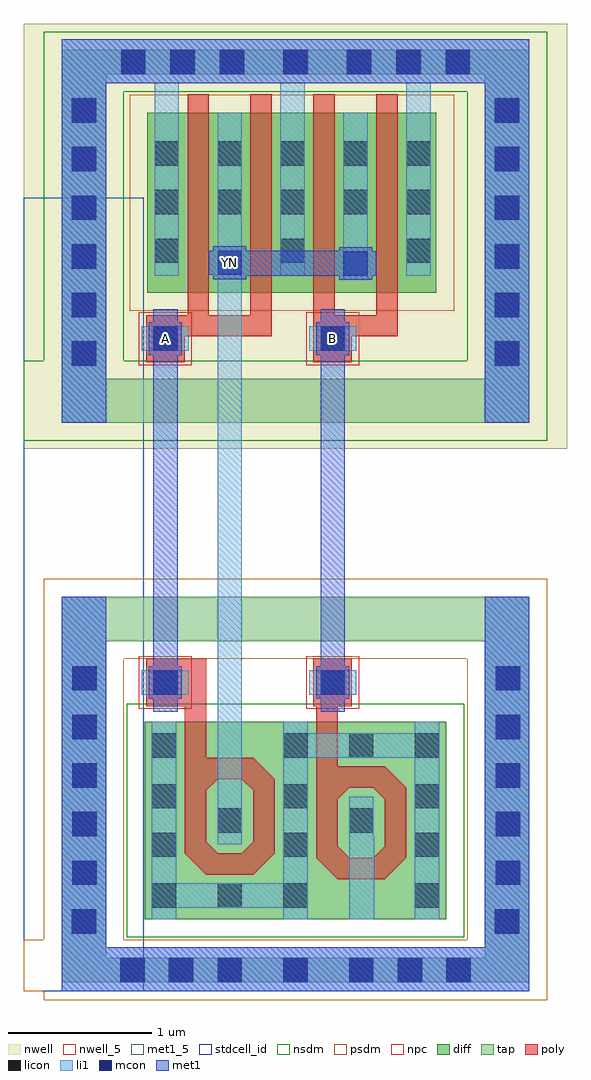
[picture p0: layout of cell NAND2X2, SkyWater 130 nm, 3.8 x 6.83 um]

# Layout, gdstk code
import gdstk
lib = gdstk.Library(unit=1e-6, precision=1e-09)
def R(c, l, rs):  # rectangles x0, y0, x1, y1
    for r in rs: c.add(gdstk.rectangle(r[:2], r[2:], *l))
def A(c, l, x, y, w, h, nx, ny, dx, dy):  # array of equal rectangles
    R(c, l, [(x+i*dx, y+j*dy, x+i*dx+w, y+j*dy+h) for i in range(nx) for j in range(ny)])
def P(c, l, *ps):  # polygons
    for p in ps: c.add(gdstk.Polygon(p, *l))
nwell_5 = (64, 5)
nwell = (64, 20)
diff = (65, 20)
tap = (65, 44)
poly = (66, 20)
licon = (66, 44)
li1 = (67, 20)
mcon = (67, 44)
met1_5 = (68, 5)
met1 = (68, 20)
stdcell_id = (81, 4)
nsdm = (93, 44)
psdm = (94, 20)
npc = (95, 20)

nmos_top_left = lib.new_cell('nmos_top_left')
R(nmos_top_left, diff, [(-0.225,-0.32,0.965,1.06)])
R(nmos_top_left, poly, [(0.205,-0.01,0.535,0.14), (0.055,0.14,0.205,0.66), (0.535,0.14,0.685,0.66), (0.055,0.66,0.535,0.81), (0.055,0.81,0.205,1.19)])
P(nmos_top_left, poly, [(0.535,0.81),(0.535,0.66),(0.685,0.66)],
  [(0.205,0.58),(0.205,0.66),(0.285,0.66)],
  [(0.455,0.66),(0.535,0.66),(0.535,0.58)],
  [(0.205,0.22),(0.205,0.14),(0.285,0.14)],
  [(0.455,0.14),(0.535,0.14),(0.535,0.22)],
  [(0.055,0.14),(0.205,0.14),(0.205,-0.01)],
  [(0.535,-0.01),(0.535,0.14),(0.685,0.14)])
A(nmos_top_left, licon, -0.175, -0.24, 0.17, 0.17, 3, 1, 0.46, 0)
R(nmos_top_left, licon, [(-0.175,0.115,-0.005,0.285), (0.745,0.115,0.915,0.285), (0.285,0.285,0.455,0.455), (-0.175,0.455,-0.005,0.625), (0.745,0.455,0.915,0.625), (-0.175,0.81,-0.005,0.98), (0.745,0.81,0.915,0.98)])
R(nmos_top_left, li1, [(-0.175,-0.32,-0.005,-0.24), (0.745,-0.32,0.915,-0.24), (-0.175,-0.24,0.915,-0.07), (-0.175,-0.07,-0.005,1.06), (0.745,-0.07,0.915,1.06), (0.285,0.205,0.455,0.595)])
R(nmos_top_left, nsdm, [(-0.35,-0.445,1.09,1.185)])

pmos = lib.new_cell('pmos')
R(pmos, nwell, [(-0.18,-1.435,1.32,0.185)])
R(pmos, diff, [(0,-1.255,1.14,0.005)])
R(pmos, poly, [(0.28,-1.56,0.87,-1.41), (0.28,-1.41,0.43,0.135), (0.72,-1.41,0.87,0.135)])
A(pmos, licon, 0.05, -0.705, 0.17, 0.17, 3, 2, 0.44, 0.34)
R(pmos, licon, [(0.05,-1.045,0.22,-0.875), (0.93,-1.045,1.1,-0.875)])
R(pmos, li1, [(0.05,-1.135,0.22,0.21), (0.49,-1.135,0.66,0.005), (0.93,-1.135,1.1,0.21)])
R(pmos, psdm, [(-0.125,-1.38,1.265,0.13)])

m1_m2_contact = lib.new_cell('M1_M2_contact')
R(m1_m2_contact, poly, [(0.35,1.995,0.62,2.325)])
R(m1_m2_contact, licon, [(0.4,2.075,0.57,2.245)])
R(m1_m2_contact, li1, [(0.32,2.075,0.65,2.245)])
R(m1_m2_contact, mcon, [(0.4,2.075,0.57,2.245)])
R(m1_m2_contact, met1, [(0.4,1.955,0.57,2.045), (0.37,2.045,0.6,2.275), (0.4,2.275,0.57,2.365)])
R(m1_m2_contact, npc, [(0.3,1.975,0.67,2.345)])

diff_ring_side = lib.new_cell('diff_ring_side')
R(diff_ring_side, nwell, [(-0.795,3.795,0.045,6.765)])
R(diff_ring_side, tap, [(-0.53,0.065,-0.22,2.76), (-0.53,3.975,-0.22,6.585)])
A(diff_ring_side, licon, -0.455, 0.745, 0.17, 0.17, 1, 5, 0, 0.34)
A(diff_ring_side, licon, -0.46, 4.375, 0.17, 0.17, 1, 6, 0, 0.34)
R(diff_ring_side, licon, [(-0.46,0.405,-0.29,0.575)])
R(diff_ring_side, li1, [(-0.53,0,-0.22,2.76), (-0.53,3.975,-0.22,6.66)])
A(diff_ring_side, mcon, -0.455, 0.745, 0.17, 0.17, 1, 5, 0, 0.34)
A(diff_ring_side, mcon, -0.46, 4.375, 0.17, 0.17, 1, 6, 0, 0.34)
R(diff_ring_side, mcon, [(-0.46,0.405,-0.29,0.575)])
R(diff_ring_side, met1, [(-0.53,0,-0.22,2.76), (-0.53,3.975,-0.22,6.66)])
R(diff_ring_side, nsdm, [(-0.655,3.85,-0.095,6.71)])
R(diff_ring_side, psdm, [(-0.655,-0.06,-0.095,2.885)])

nmos_bottom_left = lib.new_cell('nmos_bottom_left')
R(nmos_bottom_left, diff, [(-0.225,-0.32,0.965,1.06)])
R(nmos_bottom_left, poly, [(0.205,-0.04,0.535,0.11), (0.055,0.11,0.205,0.6), (0.535,0.11,0.685,0.6), (0.055,0.6,0.535,0.75), (0.055,0.75,0.205,1.19)])
P(nmos_bottom_left, poly, [(0.535,0.75),(0.535,0.6),(0.685,0.6)],
  [(0.205,0.52),(0.205,0.6),(0.285,0.6)],
  [(0.455,0.6),(0.535,0.6),(0.535,0.52)],
  [(0.205,0.19),(0.205,0.11),(0.285,0.11)],
  [(0.455,0.11),(0.535,0.11),(0.535,0.19)],
  [(0.055,0.11),(0.205,0.11),(0.205,-0.04)],
  [(0.535,-0.04),(0.535,0.11),(0.685,0.11)])
A(nmos_bottom_left, licon, -0.175, 0.81, 0.17, 0.17, 3, 1, 0.46, 0)
R(nmos_bottom_left, licon, [(-0.175,-0.24,-0.005,-0.07), (0.745,-0.24,0.915,-0.07), (-0.175,0.115,-0.005,0.285), (0.745,0.115,0.915,0.285), (0.285,0.285,0.455,0.455), (-0.175,0.455,-0.005,0.625), (0.745,0.455,0.915,0.625)])
R(nmos_bottom_left, li1, [(-0.175,-0.32,-0.005,0.81), (0.285,-0.32,0.46,0.255), (0.745,-0.32,0.915,0.81), (0.285,0.255,0.455,0.535), (-0.175,0.81,0.915,0.98), (-0.175,0.98,-0.005,1.06), (0.745,0.98,0.915,1.06)])
R(nmos_bottom_left, nsdm, [(-0.35,-0.445,1.09,1.185)])

nand2x2 = lib.new_cell('NAND2X2')
R(nand2x2, nwell_5, [(3.185,4.48,3.355,4.65)])
R(nand2x2, nwell, [(2.46,3.795,6.08,3.85), (2.46,3.85,5.645,3.97), (5.675,3.85,6.01,3.97), (2.46,3.97,5.57,6.395), (2.46,6.395,5.555,6.405), (2.46,6.405,2.6,6.595), (2.82,6.405,5.555,6.585), (2.82,6.585,5.51,6.59), (2.82,6.59,5.555,6.595), (2.46,6.595,5.555,6.615), (2.46,6.615,5.57,6.765)])
R(nand2x2, diff, [(3.635,1.36,3.805,1.73)])
R(nand2x2, tap, [(2.545,0.065,2.58,0.235), (2.815,0.065,5.505,0.235), (2.855,2.45,5.505,2.76), (2.545,3.975,5.815,4.285), (2.545,6.415,2.6,6.585), (2.82,6.415,5.555,6.585)])
R(nand2x2, poly, [(3.405,2.015,3.555,2.325), (3.405,4.58,3.425,4.73)])
A(nand2x2, licon, 2.955, 0.065, 0.17, 0.17, 3, 1, 0.34, 0)
A(nand2x2, licon, 4.555, 0.065, 0.17, 0.17, 3, 1, 0.34, 0)
A(nand2x2, licon, 2.96, 6.415, 0.17, 0.17, 3, 1, 0.345, 0)
A(nand2x2, licon, 4.54, 6.415, 0.17, 0.17, 3, 1, 0.345, 0)
R(nand2x2, licon, [(4.095,0.065,4.265,0.235), (4.095,6.415,4.265,6.585)])
R(nand2x2, li1, [(2.545,0,5.505,0.035), (2.545,0.035,2.58,0.275), (2.815,0.035,5.505,0.275), (2.545,0.275,5.505,0.31), (3.635,1.36,3.805,5.3), (4.515,4.975,4.685,5.205), (2.545,6.35,5.505,6.405), (2.545,6.405,2.6,6.595), (2.82,6.405,5.505,6.415), (2.82,6.415,5.555,6.585), (2.82,6.585,5.505,6.595), (2.545,6.595,5.505,6.66)])
A(nand2x2, mcon, 2.955, 0.065, 0.17, 0.17, 3, 1, 0.34, 0)
A(nand2x2, mcon, 4.555, 0.065, 0.17, 0.17, 3, 1, 0.34, 0)
A(nand2x2, mcon, 2.96, 6.415, 0.17, 0.17, 3, 1, 0.345, 0)
A(nand2x2, mcon, 4.54, 6.415, 0.17, 0.17, 3, 1, 0.345, 0)
R(nand2x2, mcon, [(4.095,0.065,4.265,0.235), (4.515,5.005,4.685,5.175), (3.635,5.01,3.805,5.18), (4.095,6.415,4.265,6.585)])
R(nand2x2, met1_5, [(4.355,4.48,4.525,4.65), (3.635,5.01,3.805,5.18)])
R(nand2x2, met1, [(2.545,0,5.505,0.035), (2.545,0.035,2.58,0.275), (2.815,0.035,5.505,0.275), (2.545,0.275,5.505,0.31), (3.185,2.365,3.355,4.37), (4.355,2.365,4.525,4.68), (4.485,4.975,4.715,5.005), (3.605,4.98,3.835,5.005), (3.605,5.005,4.745,5.01), (3.575,5.01,4.745,5.175), (3.575,5.175,4.715,5.18), (3.605,5.18,3.835,5.21), (4.485,5.18,4.715,5.205), (2.545,6.35,5.505,6.405), (2.545,6.405,2.6,6.595), (2.82,6.405,5.505,6.415), (2.82,6.415,5.555,6.585), (2.82,6.585,5.505,6.595), (2.545,6.595,5.505,6.66)])
R(nand2x2, stdcell_id, [(2.28,0,3.12,5.55)])
R(nand2x2, nsdm, [(3.32,1.235,3.93,1.855), (2.28,3.85,5.94,4.41), (2.42,6.29,5.68,6.71)])
R(nand2x2, psdm, [(2.42,-0.06,5.63,0), (2.28,0,5.63,0.36), (2.73,2.325,5.63,2.885)])
nand2x2.add(gdstk.Reference(nmos_top_left, (3.35,0.825)))
nand2x2.add(gdstk.Reference(pmos, (3.145,6.14)))
nand2x2.add(gdstk.Reference(m1_m2_contact, (2.785,2.405)))
nand2x2.add(gdstk.Reference(m1_m2_contact, (2.785,0)))
nand2x2.add(gdstk.Reference(diff_ring_side, (3.075,0)))
nand2x2.add(gdstk.Reference(nmos_bottom_left, (4.27,0.825)))
nand2x2.add(gdstk.Reference(m1_m2_contact, (3.955,0)))
nand2x2.add(gdstk.Reference(m1_m2_contact, (3.955,2.405)))
nand2x2.add(gdstk.Reference(pmos, (4.025,6.14)))
nand2x2.add(gdstk.Reference(diff_ring_side, (6.035,0)))
nand2x2.add(gdstk.Label('YN', (3.72,5.095), layer=68, texttype=5))
nand2x2.add(gdstk.Label('A', (3.27,4.565), layer=64, texttype=5))
nand2x2.add(gdstk.Label('B', (4.44,4.565), layer=68, texttype=5))

lib.write_gds('NAND2X2.gds')
